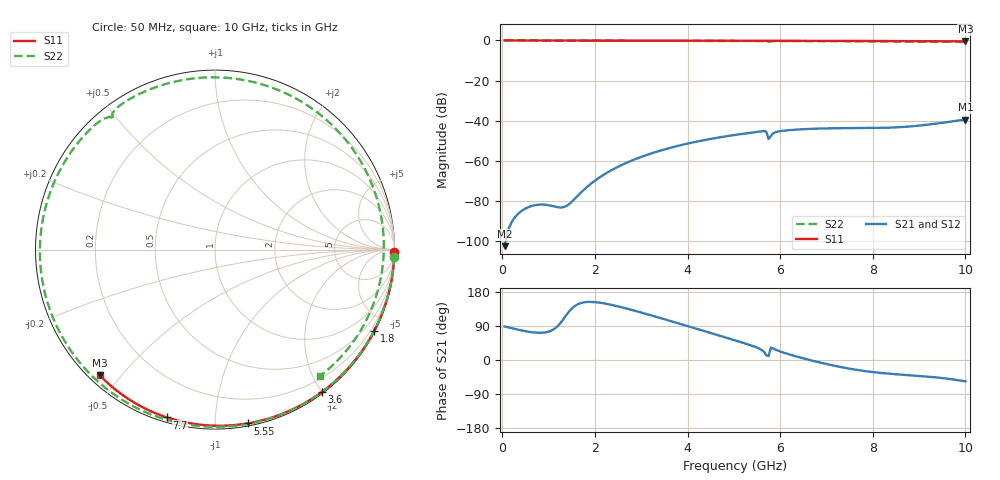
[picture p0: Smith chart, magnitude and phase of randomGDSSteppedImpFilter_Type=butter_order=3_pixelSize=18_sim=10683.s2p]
! freq	dB(S11)	phase(S11)	dB(S12)	phase(S12)
!  dB(S21)	phase(S21)	dB(S22)	phase(S22)
!S-par simulation data
#  GHz  S  DB  R 50
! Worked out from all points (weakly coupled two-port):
!   200 points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, 50 MHz to 10 GHz, reference 50 ohm
!   highest |S21| = -39.49 dB at 10 GHz (marker M1); lowest = -102.7 dB at 50 MHz (marker M2)
!   lowest |S11| = -0.4 dB at 10 GHz (marker M3), VSWR 38.93, Z = 1.53 - j21.9 ohm
!   |S11| at or under -10 dB: nowhere
!   |S22| runs from -0.8 to 0.0 dB; largest |S21 - S12| = 0
!   S11 on the Smith chart (normalised r, x): 50 MHz: open; 1.8 GHz: 0.04, -4.13; 3.6 GHz: 0.02, -2.00; 5.55 GHz: 0.02, -1.20; 7.7 GHz: 0.02, -0.75; 10 GHz: 0.03, -0.44
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0.05  -0.00 -0.8  -102.73 88.5  -102.73 88.5  -0.00 -2.4
0.7  -0.01 -10.7  -82.29 72.5  -82.29 72.5  -0.04 -32.5
1.1  -0.02 -16.7  -82.78 80.2  -82.78 80.2  -0.06 -50.6
1.5  -0.03 -22.7  -80.55 135.7  -80.55 135.7  -0.08 -68.1
1.75  -0.03 -26.5  -74.84 151.8  -74.84 151.8  -0.10 -78.7
1.8  -0.03 -27.2  -73.78 152.7  -73.78 152.7  -0.10 -80.8
2.45  -0.05 -36.8  -63.64 142.9  -63.64 142.9  -0.13 -107.2
3.4  -0.07 -50.4  -55.10 111.2  -55.10 111.2  -0.17 -143.6
3.6  -0.07 -53.2  -53.79 104.0  -53.79 104.0  -0.17 -151.1
4.35  -0.09 -63.5  -49.81 76.8  -49.81 76.8  -0.21 -178.9
5.05  -0.11 -72.9  -47.10 51.0  -47.10 51.0  -0.26 154.7
5.55  -0.13 -79.4  -45.51 30.0  -45.51 30.0  -0.31 134.9
5.7  -0.13 -81.3  -45.52 12.5  -45.52 12.5  -0.51 128.2
5.75  -0.14 -82.0  -49.22 10.1  -49.22 10.1  -0.73 128.1
5.85  -0.14 -83.3  -46.34 30.6  -46.34 30.6  -0.35 124.6
5.95  -0.15 -84.5  -45.50 24.8  -45.50 24.8  -0.32 120.1
6.7  -0.18 -93.9  -44.11 -2.0  -44.11 -2.0  -0.36 88.3
7.2  -0.21 -100.0  -43.84 -16.0  -43.84 -16.0  -0.39 66.6
7.7  -0.24 -106.0  -43.78 -27.0  -43.78 -27.0  -0.43 44.6
8.35  -0.29 -113.7  -43.55 -36.1  -43.55 -36.1  -0.49 16.3
9.1  -0.35 -122.3  -42.28 -42.8  -42.28 -42.8  -0.59 -15.2
10  -0.45 -132.6  -39.49 -56.4  -39.49 -56.4  -0.77 -50.3
